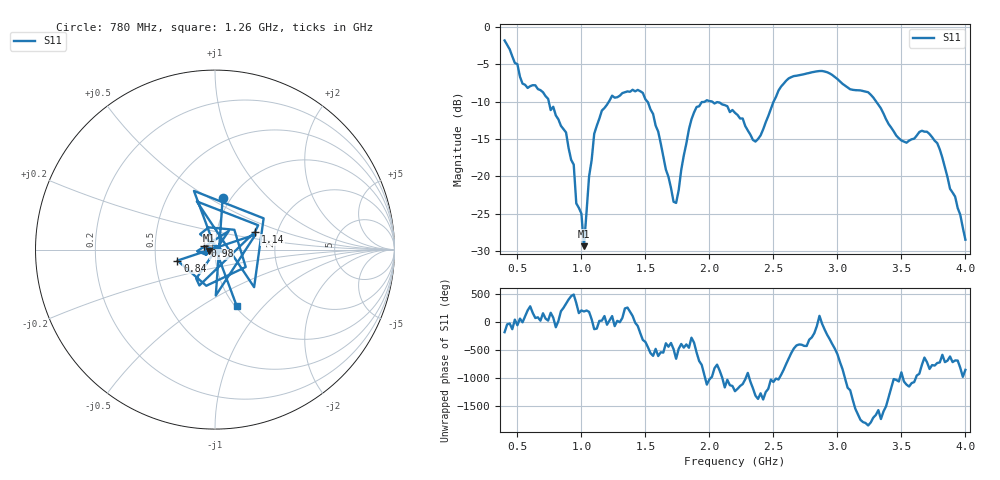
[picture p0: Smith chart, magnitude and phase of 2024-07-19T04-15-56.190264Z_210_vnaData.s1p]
!Created with skrf (http://scikit-rf.org).
# Hz S RI R 50.0
!freq ReS11 ImS11
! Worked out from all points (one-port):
!   181 points, 400 MHz to 4 GHz, reference 50 ohm
!   lowest |S11| = -29.4 dB at 1.02 GHz (marker M1), VSWR 1.07, Z = 46.8 - j0.626 ohm
!   |S11| at or under -10 dB: 745.2 MHz to 1.214 GHz (469 MHz wide, 47.9 % of centre); 2.023 GHz to 2.501 GHz (478.3 MHz wide, 21.1 % of centre); 3.304 GHz to end of sweep (the widest 3 of 4)
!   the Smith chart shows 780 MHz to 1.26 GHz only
!   S11 on the Smith chart (normalised r, x): 780 MHz: 0.91, +0.58; 840 MHz: 0.65, -0.08; 980 MHz: 0.89, +0.03; 1.14 GHz: 1.53, +0.32; 1.26 GHz: 1.02, -0.72
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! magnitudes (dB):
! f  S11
! 400 MHz  -1.8
! 540 MHz  -7.6
! 780 MHz  -10.7
! 840 MHz  -13.2
! 860 MHz  -13.7
! 940 MHz  -18.4
! 960 MHz  -23.6
! 980 MHz  -24.2
! 1 GHz  -25.0
! 1.02 GHz  -29.4
! 1.06 GHz  -20.0
! 1.1 GHz  -14.3
! 1.14 GHz  -12.3
! 1.26 GHz  -9.5
! 1.3 GHz  -9.2
! 1.48 GHz  -8.8
! 1.6 GHz  -14.0
! 1.72 GHz  -23.4
! 1.76 GHz  -21.9
! 1.84 GHz  -13.7
! 1.9 GHz  -10.7
! 2.2 GHz  -11.5
! 2.36 GHz  -15.3
! 2.66 GHz  -6.6
! 3.1 GHz  -8.3
! 3.56 GHz  -15.2
! 3.78 GHz  -15.6
! 4 GHz  -28.5
